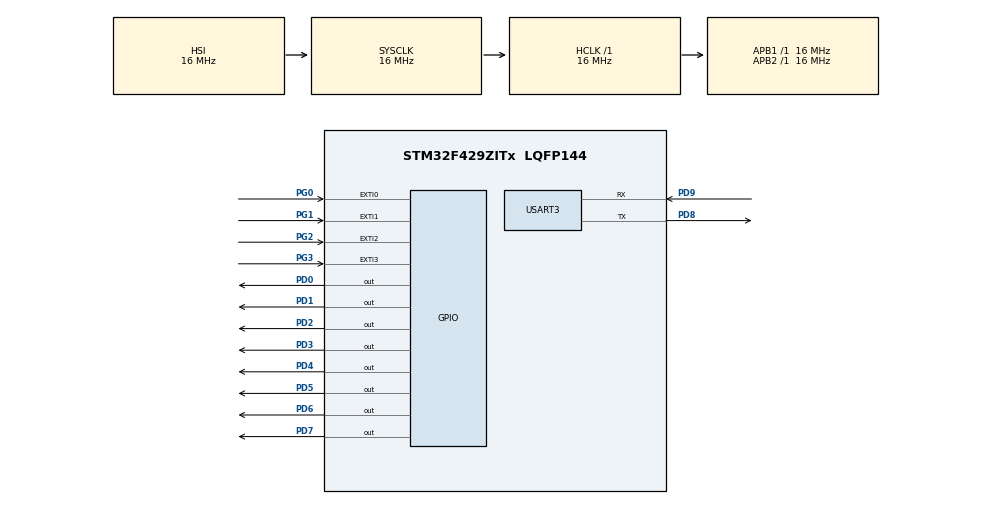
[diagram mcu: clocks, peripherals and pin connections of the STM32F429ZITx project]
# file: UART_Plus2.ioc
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Mcu.Family=STM32F4
Mcu.Name=STM32F429ZITx
Mcu.Package=LQFP144
NVIC.EXTI0_IRQn=true\:0\:0\:false\:false\:true\:true\:true\:true
NVIC.EXTI1_IRQn=true\:0\:0\:false\:false\:true\:true\:true\:true
NVIC.EXTI2_IRQn=true\:0\:0\:false\:false\:true\:true\:true\:true
NVIC.EXTI3_IRQn=true\:0\:0\:false\:false\:true\:true\:true\:true
NVIC.FPU_IRQn=true\:0\:0\:false\:false\:true\:true\:false\:true
NVIC.PriorityGroup=NVIC_PRIORITYGROUP_4
NVIC.USART3_IRQn=true\:0\:0\:false\:false\:true\:true\:true\:true
PD0.GPIO_ModeDefaultOutputPP=GPIO_MODE_OUTPUT_PP
PD0.GPIO_PuPd=GPIO_PULLUP
PD0.GPIO_Speed=GPIO_SPEED_FREQ_HIGH
PD0.PinState=GPIO_PIN_RESET
PD0.Signal=GPIO_Output
PD1.GPIO_ModeDefaultOutputPP=GPIO_MODE_OUTPUT_PP
PD1.GPIO_PuPd=GPIO_PULLUP
PD1.GPIO_Speed=GPIO_SPEED_FREQ_HIGH
PD1.PinState=GPIO_PIN_RESET
PD1.Signal=GPIO_Output
PD2.GPIO_ModeDefaultOutputPP=GPIO_MODE_OUTPUT_PP
PD2.GPIO_PuPd=GPIO_PULLUP
PD2.GPIO_Speed=GPIO_SPEED_FREQ_HIGH
PD2.PinState=GPIO_PIN_RESET
PD2.Signal=GPIO_Output
PD3.GPIO_ModeDefaultOutputPP=GPIO_MODE_OUTPUT_PP
PD3.GPIO_PuPd=GPIO_PULLUP
PD3.GPIO_Speed=GPIO_SPEED_FREQ_HIGH
PD3.PinState=GPIO_PIN_RESET
PD3.Signal=GPIO_Output
PD4.GPIO_ModeDefaultOutputPP=GPIO_MODE_OUTPUT_PP
PD4.GPIO_PuPd=GPIO_PULLUP
PD4.GPIO_Speed=GPIO_SPEED_FREQ_HIGH
PD4.PinState=GPIO_PIN_RESET
PD4.Signal=GPIO_Output
PD5.GPIO_ModeDefaultOutputPP=GPIO_MODE_OUTPUT_PP
PD5.GPIO_PuPd=GPIO_PULLUP
PD5.GPIO_Speed=GPIO_SPEED_FREQ_HIGH
PD5.PinState=GPIO_PIN_RESET
PD5.Signal=GPIO_Output
PD6.GPIO_ModeDefaultOutputPP=GPIO_MODE_OUTPUT_PP
PD6.GPIO_PuPd=GPIO_PULLUP
PD6.GPIO_Speed=GPIO_SPEED_FREQ_HIGH
PD6.PinState=GPIO_PIN_RESET
PD6.Signal=GPIO_Output
PD7.GPIO_ModeDefaultOutputPP=GPIO_MODE_OUTPUT_PP
PD7.GPIO_PuPd=GPIO_PULLUP
PD7.GPIO_Speed=GPIO_SPEED_FREQ_HIGH
PD7.PinState=GPIO_PIN_RESET
PD7.Signal=GPIO_Output
PD8.Mode=Asynchronous
PD8.Signal=USART3_TX
PD9.Mode=Asynchronous
PD9.Signal=USART3_RX
PG0.GPIO_ModeDefaultEXTI=GPIO_MODE_IT_FALLING
PG0.GPIO_PuPd=GPIO_NOPULL
PG0.Signal=GPXTI0
PG1.GPIO_ModeDefaultEXTI=GPIO_MODE_IT_FALLING
PG1.GPIO_PuPd=GPIO_NOPULL
PG1.Signal=GPXTI1
PG2.GPIO_ModeDefaultEXTI=GPIO_MODE_IT_FALLING
PG2.GPIO_PuPd=GPIO_NOPULL
PG2.Signal=GPXTI2
PG3.GPIO_ModeDefaultEXTI=GPIO_MODE_IT_FALLING
PG3.GPIO_PuPd=GPIO_NOPULL
PG3.Signal=GPXTI3
ProjectManager.HeapSize=0x200
ProjectManager.StackSize=0x400
ProjectManager.TargetToolchain=STM32CubeIDE
RCC.AHBFreq_Value=16000000
RCC.APB1Freq_Value=16000000
RCC.APB2Freq_Value=16000000
RCC.CortexFreq_Value=16000000
RCC.HSE_VALUE=25000000
RCC.HSI_VALUE=16000000
RCC.LSE_VALUE=32768
RCC.SYSCLKFreq_VALUE=16000000
RCC.VCOOutputFreq_Value=192000000
USART3.VirtualMode=VM_ASYNC
board=custom

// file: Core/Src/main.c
/* USER CODE BEGIN Header */
/**
  ******************************************************************************
  * @file           : main.c
  * @brief          : Main program body
  ******************************************************************************
  * @attention
  *
  * Copyright (c) 2022 STMicroelectronics.
  * All rights reserved.
  *
  * This software is licensed under terms that can be found in the LICENSE file
  * in the root directory of this software component.
  * If no LICENSE file comes with this software, it is provided AS-IS.
  *
  ******************************************************************************
  */
/* USER CODE END Header */
#include "main.h"

/* USER CODE BEGIN PD */
#define TxBufferSize	(countof(TxBuffer)-1)
#define TxBufferSize_2	(countof(TxBuffer_2)-1)
#define RxBufferSize	0XFF
#define countof(a)		(sizeof(a) / sizeof(*(a)))
/* USER CODE END PD */

UART_HandleTypeDef huart3;

/* USER CODE BEGIN PV */
uint8_t TxBuffer[] = "\n\rUART Plus Example 1.2 (Transmission Success !!)\n\r\n\r";
uint8_t TxBuffer_2[] = "\n\r LED 1 is ON ! \n\r";
uint8_t RxBuffer[RxBufferSize];
/* USER CODE END PV */

void SystemClock_Config(void);
static void MX_GPIO_Init(void);
static void MX_USART3_UART_Init(void);
/* USER CODE BEGIN PFP */
void LED_OnOff(int, int);
/* USER CODE END PFP */

int main(void)
{

  /* MCU Configuration--------------------------------------------------------*/

  /* Reset of all peripherals, Initializes the Flash interface and the Systick. */
  HAL_Init();

  /* Configure the system clock */
  SystemClock_Config();

  /* Initialize all configured peripherals */
  MX_GPIO_Init();
  MX_USART3_UART_Init();
  /* USER CODE BEGIN 2 */
  LED_OnOff(LED_ALL, 500);
  HAL_UART_Transmit(&huart3, (uint8_t*)TxBuffer, TxBufferSize, 0xFFFF);
  /* USER CODE END 2 */

  /* Infinite loop */
  /* USER CODE BEGIN WHILE */
  while (1)
  {
	  if(HAL_UART_Receive(&huart3, (uint8_t*)RxBuffer, 1, 5000)== HAL_OK)
	  {
		  HAL_UART_Transmit(&huart3, (uint8_t*)TxBuffer_2, TxBufferSize_2, 0xFFFF);
		  LED_OnOff(0x01,1000);
	  }

    /* USER CODE END WHILE */

  }
}

void SystemClock_Config(void)
{
  RCC_OscInitTypeDef RCC_OscInitStruct = {0};
  RCC_ClkInitTypeDef RCC_ClkInitStruct = {0};

  /** Configure the main internal regulator output voltage
  */
  __HAL_RCC_PWR_CLK_ENABLE();
  __HAL_PWR_VOLTAGESCALING_CONFIG(PWR_REGULATOR_VOLTAGE_SCALE3);

  /** Initializes the RCC Oscillators according to the specified parameters
  * in the RCC_OscInitTypeDef structure.
  */
  RCC_OscInitStruct.OscillatorType = RCC_OSCILLATORTYPE_HSI;
  RCC_OscInitStruct.HSIState = RCC_HSI_ON;
  RCC_OscInitStruct.HSICalibrationValue = RCC_HSICALIBRATION_DEFAULT;
  RCC_OscInitStruct.PLL.PLLState = RCC_PLL_NONE;
  if (HAL_RCC_OscConfig(&RCC_OscInitStruct) != HAL_OK)
  {
    Error_Handler();
  }

  /** Initializes the CPU, AHB and APB buses clocks
  */
  RCC_ClkInitStruct.ClockType = RCC_CLOCKTYPE_HCLK|RCC_CLOCKTYPE_SYSCLK
                              |RCC_CLOCKTYPE_PCLK1|RCC_CLOCKTYPE_PCLK2;
  RCC_ClkInitStruct.SYSCLKSource = RCC_SYSCLKSOURCE_HSI;
  RCC_ClkInitStruct.AHBCLKDivider = RCC_SYSCLK_DIV1;
  RCC_ClkInitStruct.APB1CLKDivider = RCC_HCLK_DIV1;
  RCC_ClkInitStruct.APB2CLKDivider = RCC_HCLK_DIV1;

  if (HAL_RCC_ClockConfig(&RCC_ClkInitStruct, FLASH_LATENCY_0) != HAL_OK)
  {
    Error_Handler();
  }
}

static void MX_USART3_UART_Init(void)
{

  huart3.Instance = USART3;
  huart3.Init.BaudRate = 115200;
  huart3.Init.WordLength = UART_WORDLENGTH_8B;
  huart3.Init.StopBits = UART_STOPBITS_1;
  huart3.Init.Parity = UART_PARITY_NONE;
  huart3.Init.Mode = UART_MODE_TX_RX;
  huart3.Init.HwFlowCtl = UART_HWCONTROL_NONE;
  huart3.Init.OverSampling = UART_OVERSAMPLING_16;
  if (HAL_UART_Init(&huart3) != HAL_OK)
  {
    Error_Handler();
  }

}

static void MX_GPIO_Init(void)
{
  GPIO_InitTypeDef GPIO_InitStruct = {0};

  /* GPIO Ports Clock Enable */
  __HAL_RCC_GPIOG_CLK_ENABLE();
  __HAL_RCC_GPIOD_CLK_ENABLE();

  /*Configure GPIO pin Output Level */
  HAL_GPIO_WritePin(GPIOD, GPIO_PIN_0|GPIO_PIN_1|GPIO_PIN_2|GPIO_PIN_3
                          |GPIO_PIN_4|GPIO_PIN_5|GPIO_PIN_6|GPIO_PIN_7, GPIO_PIN_RESET);

  /*Configure GPIO pins : PG0 PG1 PG2 PG3 */
  GPIO_InitStruct.Pin = GPIO_PIN_0|GPIO_PIN_1|GPIO_PIN_2|GPIO_PIN_3;
  GPIO_InitStruct.Mode = GPIO_MODE_IT_FALLING;
  GPIO_InitStruct.Pull = GPIO_NOPULL;
  HAL_GPIO_Init(GPIOG, &GPIO_InitStruct);

  /*Configure GPIO pins : PD0 PD1 PD2 PD3
                           PD4 PD5 PD6 PD7 */
  GPIO_InitStruct.Pin = GPIO_PIN_0|GPIO_PIN_1|GPIO_PIN_2|GPIO_PIN_3
                          |GPIO_PIN_4|GPIO_PIN_5|GPIO_PIN_6|GPIO_PIN_7;
  GPIO_InitStruct.Mode = GPIO_MODE_OUTPUT_PP;
  GPIO_InitStruct.Pull = GPIO_PULLUP;
  GPIO_InitStruct.Speed = GPIO_SPEED_FREQ_HIGH;
  HAL_GPIO_Init(GPIOD, &GPIO_InitStruct);

  /* EXTI interrupt init*/
  HAL_NVIC_SetPriority(EXTI0_IRQn, 0, 0);
  HAL_NVIC_EnableIRQ(EXTI0_IRQn);

  HAL_NVIC_SetPriority(EXTI1_IRQn, 0, 0);
  HAL_NVIC_EnableIRQ(EXTI1_IRQn);

  HAL_NVIC_SetPriority(EXTI2_IRQn, 0, 0);
  HAL_NVIC_EnableIRQ(EXTI2_IRQn);

  HAL_NVIC_SetPriority(EXTI3_IRQn, 0, 0);
  HAL_NVIC_EnableIRQ(EXTI3_IRQn);

}

/* USER CODE BEGIN 4 */
void LED_OnOff(int led, int interval)
{
	HAL_GPIO_WritePin(GPIO_LED, led, GPIO_PIN_SET);
	HAL_GPIO_WritePin(GPIO_LED_Nucleo, led, GPIO_PIN_SET);
	HAL_Delay(interval);
	HAL_GPIO_WritePin(GPIO_LED, led, GPIO_PIN_RESET);
	HAL_GPIO_WritePin(GPIO_LED_Nucleo, led, GPIO_PIN_RESET);
}
void HAL_UART_TxCpltCallback(UART_HandleTypeDef *UartHandler)
{
	HAL_UART_Transmit(UartHandler, (uint8_t*)TxBuffer_2, TxBufferSize_2, 0xFFFF);
}
void HAL_UART_RxCpltCallback(UART_HandleTypeDef *UartHandler)
{
	HAL_UART_Transmit_IT(UartHandler, (uint8_t*)RxBuffer, 1);
}
/* USER CODE END 4 */
void Error_Handler(void)
{
  __disable_irq();
  while (1)
  {
  }
}
